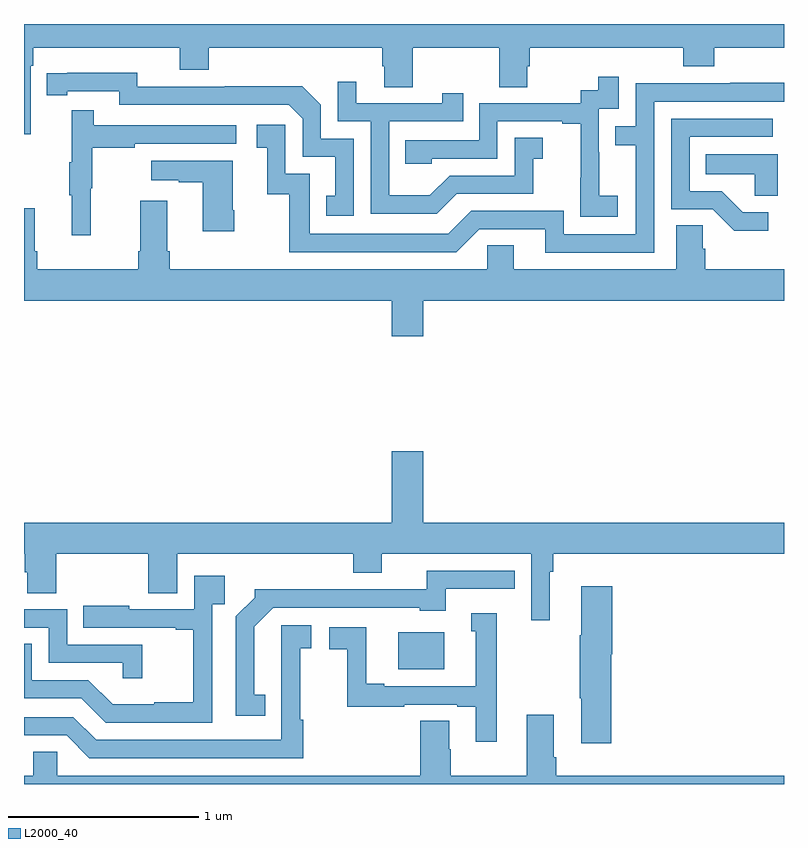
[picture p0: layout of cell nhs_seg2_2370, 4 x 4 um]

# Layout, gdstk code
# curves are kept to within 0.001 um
import gdstk
lib = gdstk.Library(unit=1e-6, precision=1e-09)
def R(c, l, rs):  # rectangles x0, y0, x1, y1
    for r in rs: c.add(gdstk.rectangle(r[:2], r[2:], *l))
def P(c, l, *ps):  # polygons
    for p in ps: c.add(gdstk.Polygon(p, *l))
L2000_40 = (2000, 40)

nhs_seg2_2370 = lib.new_cell('nhs_seg2_2370')
R(nhs_seg2_2370, L2000_40, [(236.969,604.403,237.211,604.6)])
P(nhs_seg2_2370, L2000_40, [(235.035,607.58),(235.049,607.58),(235.049,607.676),(235.82,607.676),(235.82,607.559),(235.973,607.559),(235.973,607.676),(236.885,607.676),(236.885,607.578),(236.897,607.578),(236.897,607.468),(237.045,607.468),(237.045,607.676),(237.502,607.676),(237.502,607.468),(237.649,607.468),(237.649,607.578),(237.662,607.578),(237.662,607.676),(238.469,607.676),(238.469,607.577),(238.634,607.577),(238.634,607.676),(239,607.676),(239,607.8),(235,607.8),(235,607.221),(235.035,607.221)],
  [(236.736,607.197),(236.562,607.197),(236.562,607.374),(236.464,607.472),(236.056,607.472),(236.056,607.47),(235.596,607.47),(235.596,607.543),(235.12,607.542),(235.12,607.426),(235.228,607.426),(235.228,607.446),(235.5,607.446),(235.5,607.374),(236.394,607.374),(236.466,607.302),(236.466,607.101),(236.639,607.101),(236.639,606.897),(236.59,606.897),(236.59,606.792),(236.736,606.792)],
  [(238.126,606.895),(238.028,606.895),(238.028,607.124),(238.026,607.124),(238.026,607.353),(238.131,607.353),(238.131,607.522),(238.023,607.522),(238.023,607.452),(237.93,607.452),(237.93,607.383),(237.396,607.383),(237.396,607.188),(237.007,607.188),(237.007,607.065),(237.147,607.065),(237.147,607.092),(237.492,607.092),(237.492,607.287),(237.833,607.287),(237.833,607.275),(237.929,607.275),(237.929,606.991),(237.928,606.991),(237.928,606.785),(238.126,606.785)],
  [(237.277,606.906),(237.681,606.906),(237.681,607.091),(237.73,607.091),(237.73,607.201),(237.582,607.201),(237.582,607.002),(237.24,607.002),(237.136,606.898),(236.922,606.898),(236.922,607.287),(237.311,607.287),(237.311,607.435),(237.2,607.435),(237.2,607.383),(236.749,607.383),(236.749,607.495),(236.652,607.495),(236.652,607.287),(236.826,607.287),(236.826,606.801),(237.172,606.801)],
  [(238.317,607.392),(239,607.392),(239,607.49),(238.717,607.49),(238.717,607.488),(238.221,607.488),(238.221,607.263),(238.111,607.263),(238.111,607.162),(238.221,607.162),(238.221,606.693),(237.84,606.693),(237.84,606.816),(237.354,606.816),(237.234,606.696),(236.505,606.696),(236.505,607.011),(236.376,607.011),(236.376,607.27),(236.226,607.27),(236.226,607.149),(236.279,607.149),(236.279,606.903),(236.397,606.903),(236.397,606.6),(237.276,606.6),(237.396,606.72),(237.743,606.72),(237.743,606.597),(238.317,606.597)],
  [(235.352,606.936),(235.36,606.936),(235.36,607.15),(235.583,607.15),(235.583,607.17),(236.116,607.17),(236.116,607.266),(235.367,607.266),(235.367,607.345),(235.25,607.345),(235.25,607.073),(235.239,607.073),(235.239,606.899),(235.25,606.899),(235.25,606.687),(235.352,606.687)],
  [(238.918,606.81),(238.783,606.81),(238.672,606.921),(238.503,606.921),(238.503,607.206),(238.942,607.206),(238.942,607.302),(238.407,607.302),(238.407,606.825),(238.626,606.825),(238.739,606.713),(238.918,606.713)],
  [(238.966,607.114),(238.588,607.114),(238.588,607.01),(238.845,607.01),(238.845,606.895),(238.966,606.895)],
  [(236.106,606.82),(236.098,606.82),(236.098,607.081),(235.671,607.081),(235.671,606.977),(235.814,606.977),(235.814,606.967),(235.94,606.967),(235.94,606.708),(236.106,606.708)],
  [(236.936,606.156),(237.1,606.156),(237.1,606.344),(239,606.344),(239,606.508),(238.586,606.508),(238.586,606.617),(238.572,606.617),(238.572,606.74),(238.433,606.74),(238.433,606.508),(237.577,606.508),(237.577,606.635),(237.438,606.635),(237.438,606.508),(235.766,606.508),(235.766,606.604),(235.753,606.604),(235.753,606.871),(235.613,606.871),(235.613,606.604),(235.601,606.604),(235.601,606.508),(235.07,606.508),(235.07,606.604),(235.057,606.604),(235.057,606.829),(235,606.829),(235,606.344),(236.936,606.344)],
  [(237.766,604.916),(237.785,604.916),(237.785,605.012),(239,605.012),(239,605.176),(237.1,605.176),(237.1,605.551),(236.936,605.551),(236.936,605.176),(235,605.176),(235,605.012),(235.004,605.012),(235.004,604.914),(235.016,604.914),(235.016,604.804),(235.169,604.804),(235.169,605.012),(235.655,605.012),(235.655,604.804),(235.807,604.804),(235.807,605.012),(236.732,605.012),(236.732,604.913),(236.884,604.913),(236.884,605.012),(237.669,605.012),(237.669,604.662),(237.766,604.662)],
  [(236.27,604.271),(236.212,604.271),(236.212,604.627),(236.313,604.728),(237.084,604.728),(237.084,604.712),(237.22,604.712),(237.22,604.827),(237.584,604.827),(237.584,604.923),(237.121,604.923),(237.121,604.824),(236.648,604.824),(236.648,604.826),(236.214,604.826),(236.214,604.781),(236.115,604.682),(236.115,604.158),(236.27,604.158)],
  [(235.992,604.745),(236.057,604.745),(236.057,604.897),(235.896,604.897),(235.896,604.719),(235.555,604.719),(235.555,604.738),(235.312,604.738),(235.312,604.623),(235.799,604.623),(235.799,604.611),(235.891,604.611),(235.891,604.231),(235.685,604.231),(235.685,604.219),(235.466,604.219),(235.338,604.347),(235.042,604.347),(235.042,604.538),(235,604.538),(235,604.251),(235.302,604.251),(235.431,604.122),(235.992,604.122)],
  [(238.091,604.482),(238.096,604.482),(238.096,604.84),(237.932,604.84),(237.932,604.582),(237.925,604.582),(237.925,604.252),(237.932,604.252),(237.932,604.014),(238.091,604.014)],
  [(235.622,604.533),(235.227,604.533),(235.227,604.719),(235,604.719),(235,604.623),(235.131,604.623),(235.131,604.437),(235.521,604.437),(235.521,604.356),(235.622,604.356)],
  [(237.487,604.699),(237.353,604.699),(237.353,604.605),(237.377,604.605),(237.377,604.314),(236.896,604.314),(236.896,604.327),(236.8,604.327),(236.8,604.626),(236.607,604.626),(236.607,604.51),(236.701,604.51),(236.701,604.206),(237.002,604.206),(237.002,604.218),(237.281,604.218),(237.281,604.206),(237.377,604.206),(237.377,604.023),(237.487,604.023)],
  [(236.471,604.139),(236.454,604.139),(236.454,604.515),(236.512,604.515),(236.512,604.636),(236.354,604.636),(236.355,604.032),(235.38,604.032),(235.26,604.152),(235,604.152),(235,604.056),(235.224,604.056),(235.344,603.936),(236.471,603.936)],
  [(239,603.844),(237.8,603.844),(237.8,603.94),(237.787,603.94),(237.787,604.165),(237.647,604.165),(237.647,603.844),(237.246,603.844),(237.246,603.983),(237.238,603.983),(237.238,604.133),(237.086,604.133),(237.086,603.844),(235.176,603.844),(235.176,603.971),(235.049,603.971),(235.049,603.844),(235,603.844),(235,603.8),(239,603.8)])

lib.write_gds('nhs_seg2_2370.gds')
